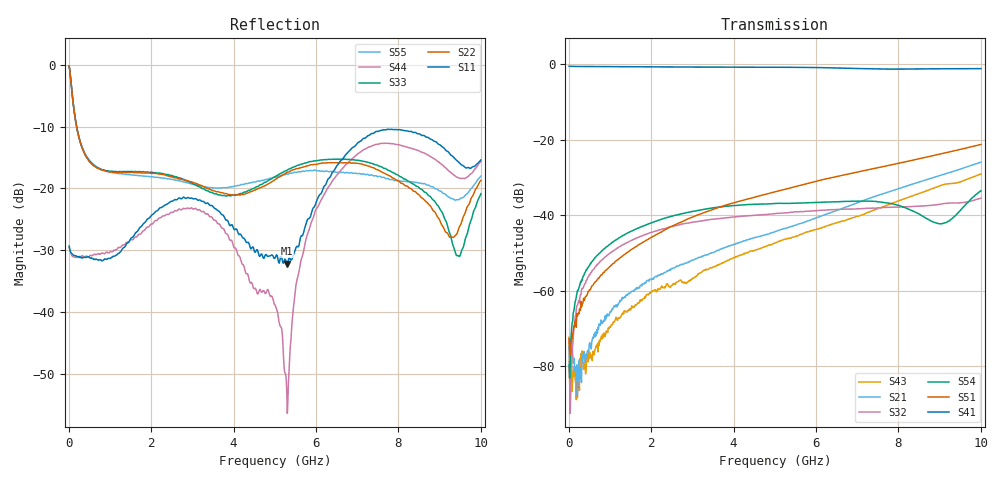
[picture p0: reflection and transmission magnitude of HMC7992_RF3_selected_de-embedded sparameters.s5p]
! Device:	HMC7992
! Description:	Silicon MMIC SP4T Non-Reflective Switch
! Package:	LP3E - 16 pin 3x3mm QFN plastic package
! Frequency:	0.1 -  6 GHz
! Ports:
! RFC = Port 1
! RF1 = Port 2
! RF2 = Port 3
! RF3 = Port 4
! RF4 = Port 5
! State: RF3 Selected
! Supply Voltage:
! Vdd = 5 V
! Control Voltages:
! VA  = 0 V
! VB  = 5 V
! Data:	Data was collected using a calibrated network analyzer with AFR software.
!	Fixtures were calculated using AFR and fixturing was applied to collect
!	this Deembedded  S Parameter data of HMC7992.
! Note:	Analog Devices supplies this data as a sample of measured data at the package pin
!	for this product.  Your particular data for this product may vary.
!	Data was taken at 25 degrees C.
!	Analog Devices reserves the right to change this data at anytime.
# GHz S  dB  R 50
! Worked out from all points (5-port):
!   801 points, 10 MHz to 10 GHz, reference 50 ohm
!   strongest paths, dB at 10 MHz, 2.507 GHz, 5.005 GHz, 7.503 GHz, 10 GHz:
!     S41: -0.4, -0.7, -0.7, -1.2, -1.1
!     S51: -72.8, -42.9, -33.8, -27.4, -21.2
!     S54: -79.7, -40.2, -36.9, -36.4, -33.5
!     S32: -78.8, -43.0, -39.6, -38.1, -35.5
!     S21: -74.8, -54.2, -44.4, -34.8, -25.9
!     S43: -72.4, -58.5, -47.4, -38.2, -29.1
!   lowest |S11| = -32.2 dB at 5.305 GHz (marker M1), VSWR 1.05, Z = 49.2 - j2.32 ohm
!   |S11| at or under -10 dB: start of sweep to end of sweep
